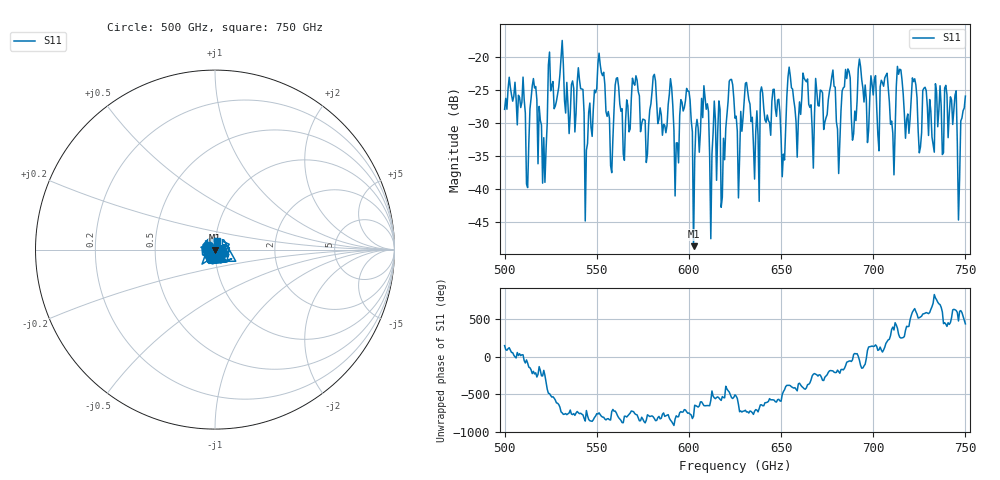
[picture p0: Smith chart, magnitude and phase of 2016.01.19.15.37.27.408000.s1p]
!Created with skrf (http://scikit-rf.org).
# GHz S RI R 50.0
!freq ReS11 ImS11
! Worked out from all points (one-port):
!   401 points, 500 GHz to 750 GHz, reference 50 ohm
!   lowest |S11| = -48.6 dB at 602.5 GHz (marker M1), VSWR 1.01, Z = 50.1 - j0.358 ohm
!   |S11| at or under -10 dB: start of sweep to end of sweep
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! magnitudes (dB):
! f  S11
! 500 GHz  -28.0
! 512.5 GHz  -39.8
! 516.2 GHz  -24.7
! 521.9 GHz  -39.0
! 525 GHz  -25.2
! 531.2 GHz  -17.6
! 541.2 GHz  -24.8
! 544.4 GHz  -34.1
! 551.9 GHz  -21.2
! 557.5 GHz  -36.5
! 562.5 GHz  -27.2
! 590 GHz  -23.3
! 593.8 GHz  -33.0
! 599.4 GHz  -25.2
! 602.5 GHz  -48.6
! 625 GHz  -29.3
! 636.9 GHz  -28.2
! 646.9 GHz  -27.8
! 651.2 GHz  -34.7
! 656.2 GHz  -24.9
! 687.5 GHz  -23.2
! 706.9 GHz  -22.8
! 710.6 GHz  -31.6
! 714.4 GHz  -21.9
! 718.8 GHz  -28.7
! 743.8 GHz  -28.1
! 746.9 GHz  -38.3
! 750 GHz  -26.0
